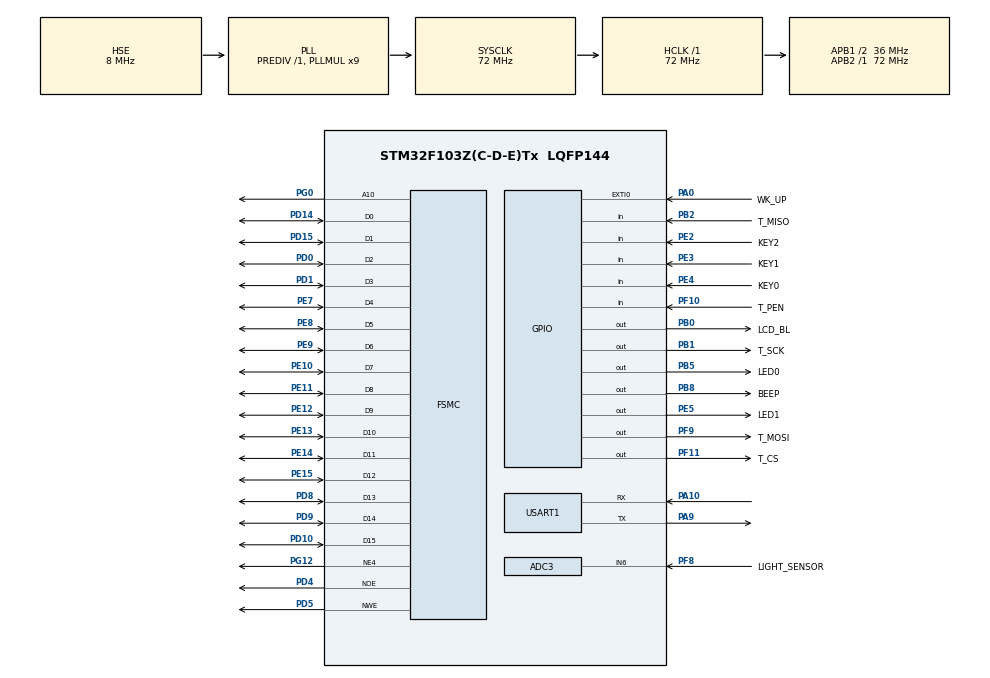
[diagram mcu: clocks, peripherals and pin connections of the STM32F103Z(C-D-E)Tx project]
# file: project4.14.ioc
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ADC3.Channel-0\#ChannelRegularConversion=ADC_CHANNEL_6
ADC3.ContinuousConvMode=ENABLE
ADC3.NbrOfConversionFlag=1
ADC3.Rank-0\#ChannelRegularConversion=1
ADC3.SamplingTime-0\#ChannelRegularConversion=ADC_SAMPLETIME_1CYCLE_5
FSMC.AddressSetupTime1=6
FSMC.DataSetupTime1=26
Mcu.Family=STM32F1
Mcu.Name=STM32F103Z(C-D-E)Tx
Mcu.Package=LQFP144
NVIC.ADC3_IRQn=true\:0\:0\:false\:false\:true\:true\:true\:true
NVIC.EXTI0_IRQn=true\:0\:0\:false\:false\:true\:true\:true\:true
NVIC.PriorityGroup=NVIC_PRIORITYGROUP_4
NVIC.TIM5_IRQn=true\:0\:0\:false\:false\:true\:true\:true\:true
NVIC.USART1_IRQn=true\:0\:0\:false\:false\:true\:true\:true\:true
OSC_IN.Mode=HSE-External-Oscillator
OSC_IN.Signal=RCC_OSC_IN
OSC_OUT.Mode=HSE-External-Oscillator
OSC_OUT.Signal=RCC_OSC_OUT
PA0-WKUP.GPIO_Label=WK_UP
PA0-WKUP.GPIO_PuPd=GPIO_PULLDOWN
PA0-WKUP.Signal=GPXTI0
PA10.Mode=Asynchronous
PA10.Signal=USART1_RX
PA13.Mode=JTAG_4_pins
PA13.Signal=SYS_JTMS-SWDIO
PA14.Mode=JTAG_4_pins
PA14.Signal=SYS_JTCK-SWCLK
PA15.Mode=JTAG_4_pins
PA15.Signal=SYS_JTDI
PA9.Mode=Asynchronous
PA9.Signal=USART1_TX
PB0.GPIO_Label=LCD_BL
PB0.GPIO_Speed=GPIO_SPEED_FREQ_MEDIUM
PB0.PinState=GPIO_PIN_SET
PB0.Signal=GPIO_Output
PB1.GPIO_Label=T_SCK
PB1.Signal=GPIO_Output
PB2.GPIO_Label=T_MISO
PB2.Signal=GPIO_Input
PB3.Mode=JTAG_4_pins
PB3.Signal=SYS_JTDO-TRACESWO
PB5.GPIO_Label=LED0
PB5.GPIO_ModeDefaultOutputPP=GPIO_MODE_OUTPUT_PP
PB5.GPIO_Speed=GPIO_SPEED_FREQ_LOW
PB5.PinState=GPIO_PIN_SET
PB5.Signal=GPIO_Output
PB8.GPIO_Label=BEEP
PB8.PinState=GPIO_PIN_RESET
PB8.Signal=GPIO_Output
PC14-OSC32_IN.Mode=LSE-External-Oscillator
PC14-OSC32_IN.Signal=RCC_OSC32_IN
PC15-OSC32_OUT.Mode=LSE-External-Oscillator
PC15-OSC32_OUT.Signal=RCC_OSC32_OUT
PD0.Signal=FSMC_D2_DA2
PD1.Signal=FSMC_D3_DA3
PD10.Signal=FSMC_D15_DA15
PD14.Signal=FSMC_D0_DA0
PD15.Signal=FSMC_D1_DA1
PD4.Signal=FSMC_NOE
PD5.Signal=FSMC_NWE
PD8.Signal=FSMC_D13_DA13
PD9.Signal=FSMC_D14_DA14
PE10.Signal=FSMC_D7_DA7
PE11.Signal=FSMC_D8_DA8
PE12.Signal=FSMC_D9_DA9
PE13.Signal=FSMC_D10_DA10
PE14.Signal=FSMC_D11_DA11
PE15.Signal=FSMC_D12_DA12
PE2.GPIO_Label=KEY2
PE2.GPIO_PuPd=GPIO_PULLUP
PE2.Signal=GPIO_Input
PE3.GPIO_Label=KEY1
PE3.GPIO_PuPd=GPIO_PULLUP
PE3.Signal=GPIO_Input
PE4.GPIO_Label=KEY0
PE4.GPIO_PuPd=GPIO_PULLUP
PE4.Signal=GPIO_Input
PE5.GPIO_Label=LED1
PE5.GPIO_ModeDefaultOutputPP=GPIO_MODE_OUTPUT_PP
PE5.PinState=GPIO_PIN_SET
PE5.Signal=GPIO_Output
PE7.Signal=FSMC_D4_DA4
PE8.Signal=FSMC_D5_DA5
PE9.Signal=FSMC_D6_DA6
PF10.GPIO_Label=T_PEN
PF10.Signal=GPIO_Input
PF11.GPIO_Label=T_CS
PF11.Signal=GPIO_Output
PF8.GPIO_Label=LIGHT_SENSOR
PF8.Signal=SharedAnalog_PF8
PF9.GPIO_Label=T_MOSI
PF9.Signal=GPIO_Output
PG0.Signal=FSMC_A10
PG12.Mode=NorPsramChipSelect4_1
PG12.Signal=FSMC_NE4
ProjectManager.HeapSize=0x200
ProjectManager.StackSize=0x400
ProjectManager.TargetToolchain=STM32CubeIDE
RCC.ADCPresc=RCC_ADCPCLK2_DIV6
RCC.AHBFreq_Value=72000000
RCC.APB1CLKDivider=RCC_HCLK_DIV2
RCC.APB1Freq_Value=36000000
RCC.APB1TimFreq_Value=72000000
RCC.APB2Freq_Value=72000000
RCC.APB2TimFreq_Value=72000000
RCC.HCLKFreq_Value=72000000
RCC.PLLMUL=RCC_PLL_MUL9
RCC.PLLSourceVirtual=RCC_PLLSOURCE_HSE
RCC.SYSCLKFreq_VALUE=72000000
RCC.SYSCLKSource=RCC_SYSCLKSOURCE_PLLCLK
RCC.USBFreq_Value=72000000
SH.FSMC_A10.0=FSMC_A10,A10_1
SH.FSMC_D0_DA0.0=FSMC_D0,16b-d1
SH.FSMC_D10_DA10.0=FSMC_D10,16b-d1
SH.FSMC_D11_DA11.0=FSMC_D11,16b-d1
SH.FSMC_D12_DA12.0=FSMC_D12,16b-d1
SH.FSMC_D13_DA13.0=FSMC_D13,16b-d1
SH.FSMC_D14_DA14.0=FSMC_D14,16b-d1
SH.FSMC_D15_DA15.0=FSMC_D15,16b-d1
SH.FSMC_D1_DA1.0=FSMC_D1,16b-d1
SH.FSMC_D2_DA2.0=FSMC_D2,16b-d1
SH.FSMC_D3_DA3.0=FSMC_D3,16b-d1
SH.FSMC_D4_DA4.0=FSMC_D4,16b-d1
SH.FSMC_D5_DA5.0=FSMC_D5,16b-d1
SH.FSMC_D6_DA6.0=FSMC_D6,16b-d1
SH.FSMC_D7_DA7.0=FSMC_D7,16b-d1
SH.FSMC_D8_DA8.0=FSMC_D8,16b-d1
SH.FSMC_D9_DA9.0=FSMC_D9,16b-d1
SH.FSMC_NOE.0=FSMC_NOE,Lcd1
SH.FSMC_NWE.0=FSMC_NWE,Lcd1
SH.SharedAnalog_PF8.0=GPIO_Analog
SH.SharedAnalog_PF8.1=ADC3_IN6,IN6
TIM3.Period=1000
TIM3.Prescaler=719
TIM5.Period=1000
TIM5.Prescaler=71
USART1.VirtualMode=VM_ASYNC
VP_TIM3_VS_ClockSourceINT.Mode=Internal
VP_TIM5_VS_ClockSourceINT.Mode=Internal
board=custom

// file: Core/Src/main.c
/* USER CODE BEGIN Header */
/**
  ******************************************************************************
  * @file           : main.c
  * @brief          : Main program body
  ******************************************************************************
  * @attention
  *
  * Copyright (c) 2025 STMicroelectronics.
  * All rights reserved.
  *
  * This software is licensed under terms that can be found in the LICENSE file
  * in the root directory of this software component.
  * If no LICENSE file comes with this software, it is provided AS-IS.
  *
  ******************************************************************************
  */
/* USER CODE END Header */
#include "main.h"

/* USER CODE BEGIN Includes */
//#include "..\..\MLAB_Drivers\Inc\MAP.h"

#include <stdio.h>
#include <stdlib.h>
#include <math.h>
#include "MAP_LCD.h"
#include <string.h>
#include "calculator.h"
#include "MAP_touch.h"
#include "WriteApp.h"

/* USER CODE END Includes */

/* USER CODE BEGIN PD */
#define ECHO_BACK_OFF
#define BASIC_CALCULATOR_ON
#define FILTER_TAP 20
#define _USE_MATH_DEFINES

/* USER CODE END PD */

ADC_HandleTypeDef hadc3;

TIM_HandleTypeDef htim3;
TIM_HandleTypeDef htim5;

UART_HandleTypeDef huart1;

SRAM_HandleTypeDef hsram1;

/* USER CODE BEGIN PV */
unsigned int exti0_flag, uart_flag, time5, adc_flag;
unsigned int pwm_value;
uint32_t adc_p,  adc_avr, adc_value;
uint32_t adc_sum;
unsigned int tim5, t5sec, t5min, t5hour;
unsigned char uart[10];
char tx_buffer[64]={};
uint8_t rx_index,rx_data[6], rx_buffer[64];

XYP_point touch_point;
uint16_t xx,yy,pp,pz1,pz2;

float angle = M_PI;
/* USER CODE END PV */

void SystemClock_Config(void);
static void MX_GPIO_Init(void);
static void MX_USART1_UART_Init(void);
static void MX_TIM5_Init(void);
static void MX_FSMC_Init(void);
static void MX_ADC3_Init(void);
static void MX_TIM3_Init(void);
/* USER CODE BEGIN PFP */

void HAL_UART_RxCpltCallback(UART_HandleTypeDef *huart)
{
    if (huart->Instance == USART1)
    {
        uart_flag = 1;
    }
}

/* USER CODE END PFP */

/* USER CODE BEGIN 0 */

int _write(int file, char* p, unsigned int len)
{
	HAL_UART_Transmit(&huart1, p, len,10);
	return len;
}

void wait_anykey(void){
	while(1){
	if (uart_flag)
		{
			uart_flag=0;
			HAL_UART_Receive_IT(&huart1, uart, 1);
			break;
		}
	}
}

void LCD_Draw_Filled_Semicircle(int cx, int cy, int r, int isBottom, uint16_t color) {
    for (int y = -r; y <= r; y++) {
        for (int x = -r; x <= r; x++) {
            if (x * x + y * y <= r * r) {
                if ((isBottom && y >= 0) || (!isBottom && y <= 0)) {
                    LCD_Draw_Point(cx + x, cy + y, color);
                }
            }
        }
    }
}

void draw_taeguk(int x, int y, int r) {
    // x, y: 중심 좌표, r: 반지름

    // 반원: 위쪽 파란색
    LCD_Draw_Filled_Semicircle(x, y, r, 0, COLOR_RED);    // 0 = 위쪽

    // 반원: 아래쪽 빨간색
    LCD_Draw_Filled_Semicircle(x, y, r, 1, COLOR_BLUE);     // 1 = 아래쪽

    // 작은 반원 (반지름 r/2) 반대 위치에 겹치기
    // 중심 기준으로 왼쪽 아래에 빨간 반원
    LCD_Draw_Filled_Semicircle(x + r/2, y, r/2, 0, COLOR_BLUE);

    // 중심 기준으로 오른쪽 위에 파란 반원
    LCD_Draw_Filled_Semicircle(x - r/2, y, r/2, 1, COLOR_RED);

}

/* USER CODE END 0 */

int main(void)
{

  /* MCU Configuration--------------------------------------------------------*/

  /* Reset of all peripherals, Initializes the Flash interface and the Systick. */
  HAL_Init();

  /* Configure the system clock */
  SystemClock_Config();

  /* Initialize all configured peripherals */
  MX_GPIO_Init();
  MX_USART1_UART_Init();
  MX_TIM5_Init();
  MX_FSMC_Init();
  MX_ADC3_Init();
  MX_TIM3_Init();
  /* USER CODE BEGIN 2 */
  HAL_UART_Receive_IT(&huart1, uart, 1);
  HAL_TIM_Base_Start_IT(&htim5);
  HAL_ADC_Start_IT(&hadc3);
  HAL_TIM_PWM_Start(&htim3, TIM_CHANNEL_3);

  LCD_init();
 LCD_BL_on();
	__HAL_TIM_SET_COMPARE(&htim3, TIM_CHANNEL_3, 900);

  LCD_Clear(COLOR_WHITE);
  //draw_buttons();

  WriteApp_init();
//
//  Touch_init();
//  data_filter();
//
//  LCD_Draw_Line(10,10,220,10,COLOR_BLUE);
//  LCD_Draw_Line(220,10,220,300,COLOR_RED);
//  LCD_Draw_Line(220,300,10,300,COLOR_BLACK);
//  LCD_Draw_Line(10,300,10,10,COLOR_RED);
//  LCD_Draw_Circle(120, 160, 50, COLOR_GREEN);
//
//  draw_taeguk(120, 160, 100);

  /* USER CODE END 2 */

  /* Infinite loop */
  /* USER CODE BEGIN WHILE */
  while (1)
  {
	  //calculator_process_touch();

	  WriteApp_process_touch();

    /* USER CODE END WHILE */

  }
}

void SystemClock_Config(void)
{
  RCC_OscInitTypeDef RCC_OscInitStruct = {0};
  RCC_ClkInitTypeDef RCC_ClkInitStruct = {0};
  RCC_PeriphCLKInitTypeDef PeriphClkInit = {0};

  /** Initializes the RCC Oscillators according to the specified parameters
  * in the RCC_OscInitTypeDef structure.
  */
  RCC_OscInitStruct.OscillatorType = RCC_OSCILLATORTYPE_HSE;
  RCC_OscInitStruct.HSEState = RCC_HSE_ON;
  RCC_OscInitStruct.HSEPredivValue = RCC_HSE_PREDIV_DIV1;
  RCC_OscInitStruct.HSIState = RCC_HSI_ON;
  RCC_OscInitStruct.PLL.PLLState = RCC_PLL_ON;
  RCC_OscInitStruct.PLL.PLLSource = RCC_PLLSOURCE_HSE;
  RCC_OscInitStruct.PLL.PLLMUL = RCC_PLL_MUL9;
  if (HAL_RCC_OscConfig(&RCC_OscInitStruct) != HAL_OK)
  {
    Error_Handler();
  }

  /** Initializes the CPU, AHB and APB buses clocks
  */
  RCC_ClkInitStruct.ClockType = RCC_CLOCKTYPE_HCLK|RCC_CLOCKTYPE_SYSCLK
                              |RCC_CLOCKTYPE_PCLK1|RCC_CLOCKTYPE_PCLK2;
  RCC_ClkInitStruct.SYSCLKSource = RCC_SYSCLKSOURCE_PLLCLK;
  RCC_ClkInitStruct.AHBCLKDivider = RCC_SYSCLK_DIV1;
  RCC_ClkInitStruct.APB1CLKDivider = RCC_HCLK_DIV2;
  RCC_ClkInitStruct.APB2CLKDivider = RCC_HCLK_DIV1;

  if (HAL_RCC_ClockConfig(&RCC_ClkInitStruct, FLASH_LATENCY_2) != HAL_OK)
  {
    Error_Handler();
  }
  PeriphClkInit.PeriphClockSelection = RCC_PERIPHCLK_ADC;
  PeriphClkInit.AdcClockSelection = RCC_ADCPCLK2_DIV6;
  if (HAL_RCCEx_PeriphCLKConfig(&PeriphClkInit) != HAL_OK)
  {
    Error_Handler();
  }
}

static void MX_ADC3_Init(void)
{

  ADC_ChannelConfTypeDef sConfig = {0};

  /** Common config
  */
  hadc3.Instance = ADC3;
  hadc3.Init.ScanConvMode = ADC_SCAN_DISABLE;
  hadc3.Init.ContinuousConvMode = ENABLE;
  hadc3.Init.DiscontinuousConvMode = DISABLE;
  hadc3.Init.ExternalTrigConv = ADC_SOFTWARE_START;
  hadc3.Init.DataAlign = ADC_DATAALIGN_RIGHT;
  hadc3.Init.NbrOfConversion = 1;
  if (HAL_ADC_Init(&hadc3) != HAL_OK)
  {
    Error_Handler();
  }

  /** Configure Regular Channel
  */
  sConfig.Channel = ADC_CHANNEL_6;
  sConfig.Rank = ADC_REGULAR_RANK_1;
  sConfig.SamplingTime = ADC_SAMPLETIME_1CYCLE_5;
  if (HAL_ADC_ConfigChannel(&hadc3, &sConfig) != HAL_OK)
  {
    Error_Handler();
  }

}

static void MX_TIM3_Init(void)
{

  TIM_ClockConfigTypeDef sClockSourceConfig = {0};
  TIM_MasterConfigTypeDef sMasterConfig = {0};

  htim3.Instance = TIM3;
  htim3.Init.Prescaler = 719;
  htim3.Init.CounterMode = TIM_COUNTERMODE_UP;
  htim3.Init.Period = 1000;
  htim3.Init.ClockDivision = TIM_CLOCKDIVISION_DIV1;
  htim3.Init.AutoReloadPreload = TIM_AUTORELOAD_PRELOAD_DISABLE;
  if (HAL_TIM_Base_Init(&htim3) != HAL_OK)
  {
    Error_Handler();
  }
  sClockSourceConfig.ClockSource = TIM_CLOCKSOURCE_INTERNAL;
  if (HAL_TIM_ConfigClockSource(&htim3, &sClockSourceConfig) != HAL_OK)
  {
    Error_Handler();
  }
  sMasterConfig.MasterOutputTrigger = TIM_TRGO_RESET;
  sMasterConfig.MasterSlaveMode = TIM_MASTERSLAVEMODE_DISABLE;
  if (HAL_TIMEx_MasterConfigSynchronization(&htim3, &sMasterConfig) != HAL_OK)
  {
    Error_Handler();
  }

}

static void MX_TIM5_Init(void)
{

  TIM_ClockConfigTypeDef sClockSourceConfig = {0};
  TIM_MasterConfigTypeDef sMasterConfig = {0};

  htim5.Instance = TIM5;
  htim5.Init.Prescaler = 71;
  htim5.Init.CounterMode = TIM_COUNTERMODE_UP;
  htim5.Init.Period = 1000;
  htim5.Init.ClockDivision = TIM_CLOCKDIVISION_DIV1;
  htim5.Init.AutoReloadPreload = TIM_AUTORELOAD_PRELOAD_DISABLE;
  if (HAL_TIM_Base_Init(&htim5) != HAL_OK)
  {
    Error_Handler();
  }
  sClockSourceConfig.ClockSource = TIM_CLOCKSOURCE_INTERNAL;
  if (HAL_TIM_ConfigClockSource(&htim5, &sClockSourceConfig) != HAL_OK)
  {
    Error_Handler();
  }
  sMasterConfig.MasterOutputTrigger = TIM_TRGO_RESET;
  sMasterConfig.MasterSlaveMode = TIM_MASTERSLAVEMODE_DISABLE;
  if (HAL_TIMEx_MasterConfigSynchronization(&htim5, &sMasterConfig) != HAL_OK)
  {
    Error_Handler();
  }

}

static void MX_USART1_UART_Init(void)
{

  huart1.Instance = USART1;
  huart1.Init.BaudRate = 115200;
  huart1.Init.WordLength = UART_WORDLENGTH_8B;
  huart1.Init.StopBits = UART_STOPBITS_1;
  huart1.Init.Parity = UART_PARITY_NONE;
  huart1.Init.Mode = UART_MODE_TX_RX;
  huart1.Init.HwFlowCtl = UART_HWCONTROL_NONE;
  huart1.Init.OverSampling = UART_OVERSAMPLING_16;
  if (HAL_UART_Init(&huart1) != HAL_OK)
  {
    Error_Handler();
  }

}

static void MX_GPIO_Init(void)
{
  GPIO_InitTypeDef GPIO_InitStruct = {0};

  /* GPIO Ports Clock Enable */
  __HAL_RCC_GPIOE_CLK_ENABLE();
  __HAL_RCC_GPIOC_CLK_ENABLE();
  __HAL_RCC_GPIOF_CLK_ENABLE();
  __HAL_RCC_GPIOA_CLK_ENABLE();
  __HAL_RCC_GPIOB_CLK_ENABLE();
  __HAL_RCC_GPIOG_CLK_ENABLE();
  __HAL_RCC_GPIOD_CLK_ENABLE();

  /*Configure GPIO pin Output Level */
  HAL_GPIO_WritePin(LED1_GPIO_Port, LED1_Pin, GPIO_PIN_SET);

  /*Configure GPIO pin Output Level */
  HAL_GPIO_WritePin(GPIOF, T_MOSI_Pin|T_CS_Pin, GPIO_PIN_RESET);

  /*Configure GPIO pin Output Level */
  HAL_GPIO_WritePin(GPIOB, LCD_BL_Pin|LED0_Pin, GPIO_PIN_SET);

  /*Configure GPIO pin Output Level */
  HAL_GPIO_WritePin(GPIOB, T_SCK_Pin|BEEP_Pin, GPIO_PIN_RESET);

  /*Configure GPIO pins : KEY2_Pin KEY1_Pin KEY0_Pin */
  GPIO_InitStruct.Pin = KEY2_Pin|KEY1_Pin|KEY0_Pin;
  GPIO_InitStruct.Mode = GPIO_MODE_INPUT;
  GPIO_InitStruct.Pull = GPIO_PULLUP;
  HAL_GPIO_Init(GPIOE, &GPIO_InitStruct);

  /*Configure GPIO pin : LED1_Pin */
  GPIO_InitStruct.Pin = LED1_Pin;
  GPIO_InitStruct.Mode = GPIO_MODE_OUTPUT_PP;
  GPIO_InitStruct.Pull = GPIO_NOPULL;
  GPIO_InitStruct.Speed = GPIO_SPEED_FREQ_LOW;
  HAL_GPIO_Init(LED1_GPIO_Port, &GPIO_InitStruct);

  /*Configure GPIO pins : T_MOSI_Pin T_CS_Pin */
  GPIO_InitStruct.Pin = T_MOSI_Pin|T_CS_Pin;
  GPIO_InitStruct.Mode = GPIO_MODE_OUTPUT_PP;
  GPIO_InitStruct.Pull = GPIO_NOPULL;
  GPIO_InitStruct.Speed = GPIO_SPEED_FREQ_LOW;
  HAL_GPIO_Init(GPIOF, &GPIO_InitStruct);

  /*Configure GPIO pin : T_PEN_Pin */
  GPIO_InitStruct.Pin = T_PEN_Pin;
  GPIO_InitStruct.Mode = GPIO_MODE_INPUT;
  GPIO_InitStruct.Pull = GPIO_NOPULL;
  HAL_GPIO_Init(T_PEN_GPIO_Port, &GPIO_InitStruct);

  /*Configure GPIO pin : WK_UP_Pin */
  GPIO_InitStruct.Pin = WK_UP_Pin;
  GPIO_InitStruct.Mode = GPIO_MODE_IT_RISING;
  GPIO_InitStruct.Pull = GPIO_PULLDOWN;
  HAL_GPIO_Init(WK_UP_GPIO_Port, &GPIO_InitStruct);

  /*Configure GPIO pin : LCD_BL_Pin */
  GPIO_InitStruct.Pin = LCD_BL_Pin;
  GPIO_InitStruct.Mode = GPIO_MODE_OUTPUT_PP;
  GPIO_InitStruct.Pull = GPIO_NOPULL;
  GPIO_InitStruct.Speed = GPIO_SPEED_FREQ_MEDIUM;
  HAL_GPIO_Init(LCD_BL_GPIO_Port, &GPIO_InitStruct);

  /*Configure GPIO pins : T_SCK_Pin LED0_Pin BEEP_Pin */
  GPIO_InitStruct.Pin = T_SCK_Pin|LED0_Pin|BEEP_Pin;
  GPIO_InitStruct.Mode = GPIO_MODE_OUTPUT_PP;
  GPIO_InitStruct.Pull = GPIO_NOPULL;
  GPIO_InitStruct.Speed = GPIO_SPEED_FREQ_LOW;
  HAL_GPIO_Init(GPIOB, &GPIO_InitStruct);

  /*Configure GPIO pin : T_MISO_Pin */
  GPIO_InitStruct.Pin = T_MISO_Pin;
  GPIO_InitStruct.Mode = GPIO_MODE_INPUT;
  GPIO_InitStruct.Pull = GPIO_NOPULL;
  HAL_GPIO_Init(T_MISO_GPIO_Port, &GPIO_InitStruct);

  /* EXTI interrupt init*/
  HAL_NVIC_SetPriority(EXTI0_IRQn, 0, 0);
  HAL_NVIC_EnableIRQ(EXTI0_IRQn);

}

/* FSMC initialization function */
static void MX_FSMC_Init(void)
{

  FSMC_NORSRAM_TimingTypeDef Timing = {0};

  /** Perform the SRAM1 memory initialization sequence
  */
  hsram1.Instance = FSMC_NORSRAM_DEVICE;
  hsram1.Extended = FSMC_NORSRAM_EXTENDED_DEVICE;
  /* hsram1.Init */
  hsram1.Init.NSBank = FSMC_NORSRAM_BANK4;
  hsram1.Init.DataAddressMux = FSMC_DATA_ADDRESS_MUX_DISABLE;
  hsram1.Init.MemoryType = FSMC_MEMORY_TYPE_SRAM;
  hsram1.Init.MemoryDataWidth = FSMC_NORSRAM_MEM_BUS_WIDTH_16;
  hsram1.Init.BurstAccessMode = FSMC_BURST_ACCESS_MODE_DISABLE;
  hsram1.Init.WaitSignalPolarity = FSMC_WAIT_SIGNAL_POLARITY_LOW;
  hsram1.Init.WrapMode = FSMC_WRAP_MODE_DISABLE;
  hsram1.Init.WaitSignalActive = FSMC_WAIT_TIMING_BEFORE_WS;
  hsram1.Init.WriteOperation = FSMC_WRITE_OPERATION_ENABLE;
  hsram1.Init.WaitSignal = FSMC_WAIT_SIGNAL_DISABLE;
  hsram1.Init.ExtendedMode = FSMC_EXTENDED_MODE_DISABLE;
  hsram1.Init.AsynchronousWait = FSMC_ASYNCHRONOUS_WAIT_DISABLE;
  hsram1.Init.WriteBurst = FSMC_WRITE_BURST_DISABLE;
  /* Timing */
  Timing.AddressSetupTime = 6;
  Timing.AddressHoldTime = 15;
  Timing.DataSetupTime = 26;
  Timing.BusTurnAroundDuration = 15;
  Timing.CLKDivision = 16;
  Timing.DataLatency = 17;
  Timing.AccessMode = FSMC_ACCESS_MODE_A;
  /* ExtTiming */

  if (HAL_SRAM_Init(&hsram1, &Timing, NULL) != HAL_OK)
  {
    Error_Handler( );
  }

  /** Disconnect NADV
  */

  __HAL_AFIO_FSMCNADV_DISCONNECTED();

}

/* USER CODE BEGIN 4 */

void ech_back(){
	  if (uart_flag){
		  if (uart[0] == 'h') HAL_UART_Transmit(&huart1, " Hello UART World! ", 19, 100);
		  else 	HAL_UART_Transmit(&huart1, uart, 1, 100);
		  HAL_UART_Receive_IT(&huart1, uart, 1);
		  uart_flag=0;
	  }
}

void basic_calculator(void){

int error_flag;
static char a[20]={},b[20]={},operator;
static int ai, bi;
double A,B,R;
static int a_set=0, b_set=0;

		if (uart_flag){
			if (!a_set){
				if ((uart[0] >= '0' && uart[0] <= '9' )|| uart[0]=='.')
				{
					a[ai++]=uart[0];
					HAL_UART_Transmit(&huart1, uart, 1, 100);
				}
				else if (uart[0] == '+' || uart[0] == '-' ||
						 uart[0] == '*' || uart[0] == '/')
				{
					a_set=1;
					operator=uart[0];
					HAL_UART_Transmit(&huart1, uart, 1, 100);
				}

			}
			else if (!b_set){
				if ((uart[0] >= '0' && uart[0] <= '9' )|| uart[0]=='.'){
					b[bi++]=uart[0];
					HAL_UART_Transmit(&huart1, uart, 1, 100);
				}
				else if (uart[0]=='='){
					b_set=1;
					HAL_UART_Transmit(&huart1, uart, 1, 100);
				}
			}

			HAL_UART_Receive_IT(&huart1, uart, 1);
			uart_flag=0;
		}
		if((a_set==1) && (b_set==1)){
			A=atof(a);
			B=atof(b);
			error_flag=0;
			switch (operator){
				case '+' : R=A+B; break;
				case '-' : R=A-B; break;
				case '*' : R=A*B; break;
				case '/' : {
					if 	(B==0)error_flag=1;
					else R=A/B;
					break;
				}
				default : R=0; break;
	 		}
			if (error_flag == 1) sprintf(tx_buffer,"error: divided by 0" );
			else if (R == (int)R) sprintf(tx_buffer,"%d\r\n",(int)R );
			else sprintf(tx_buffer,"%g\r\n",R );
			HAL_UART_Transmit(&huart1, tx_buffer, strlen(tx_buffer), 100);
			for(int i=0;i<10;i++){
				a[i]='\0';
				b[i]='\0';
			}
			ai=0;
			bi=0;
			a_set=0;
			b_set=0;
		}

}
/* USER CODE END 4 */

void Error_Handler(void)
{
  __disable_irq();
  while (1)
  {
  }
}
